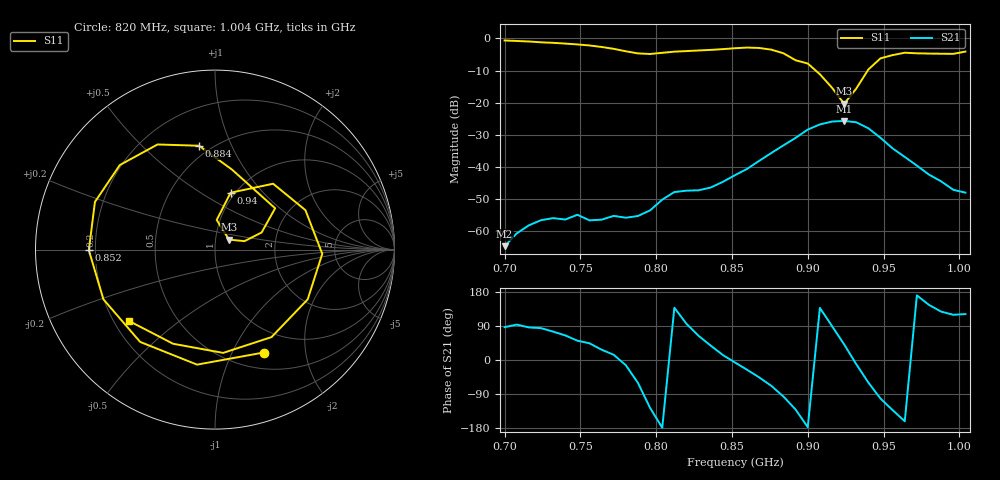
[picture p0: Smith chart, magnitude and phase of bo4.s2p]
# Hz S RI R 50
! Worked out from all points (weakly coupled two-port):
!   39 points, 700 MHz to 1.004 GHz, reference 50 ohm
!   highest |S21| = -25.68 dB at 924 MHz (marker M1); lowest = -64.6 dB at 700 MHz (marker M2)
!   lowest |S11| = -20.4 dB at 924 MHz (marker M3), VSWR 1.21, Z = 58.1 + j6.54 ohm
!   |S11| at or under -10 dB: 905.2 MHz to 939.5 MHz (34.32 MHz wide, 3.72 % of centre)
!   S12 and S22 are empty: the file has one direction only
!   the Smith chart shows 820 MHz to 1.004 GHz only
!   S11 on the Smith chart (normalised r, x): 820 MHz: 0.70, -1.34; 852 MHz: 0.17, -0.00; 884 MHz: 0.43, +0.76; 940 MHz: 0.95, +0.68; 1.004 GHz: 0.26, -0.34
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7e8  0.7462 0.5525  3.42e-05 0.000585  0 0  0 0
7.24e8  0.836 -0.2355  0.000154 0.00148  0 0  0 0
7.4e8  0.4601 -0.6902  0.000645 0.00138  0 0  0 0
7.56e8  -0.1838 -0.7538  0.00106 0.00103  0 0  0 0
7.72e8  -0.6583 -0.1987  0.00168 0.00041  0 0  0 0
7.8e8  -0.5887 0.2234  0.00157 -0.00039  0 0  0 0
7.88e8  -0.2399 0.5326  0.000847 -0.00151  0 0  0 0
7.96e8  0.242 0.5178  -0.00126 -0.0017  0 0  0 0
8.04e8  0.5707 0.173  -0.0031 -6.88e-05  0 0  0 0
8.2e8  0.2724 -0.5733  -0.000408 0.00426  0 0  0 0
8.36e8  -0.4172 -0.5141  0.00378 0.00294  0 0  0 0
8.52e8  -0.703 -0.00351  0.0074 -0.000854  0 0  0 0
8.68e8  -0.5302 0.4712  0.00865 -0.00898  0 0  0 0
8.84e8  -0.0892 0.5787  -0.00244 -0.0215  0 0  0 0
9e8  0.3351 0.2302  -0.0381 -0.00187  0 0  0 0
9.08e8  0.2598 0.0955  -0.0338 0.031  0 0  0 0
9.24e8  0.0782 0.0557  0.0392 0.0342  0 0  0 0
9.4e8  0.087 0.317  0.0202 -0.0344  0 0  0 0
9.56e8  0.5038 0.2198  -0.0131 -0.0144  0 0  0 0
9.64e8  0.5977 -0.0235  -0.0136 -0.0045  0 0  0 0
9.8e8  0.315 -0.4875  -0.00624 0.00432  0 0  0 0
1.004e9  -0.4819 -0.3962  -0.00206 0.00341  0 0  0 0
